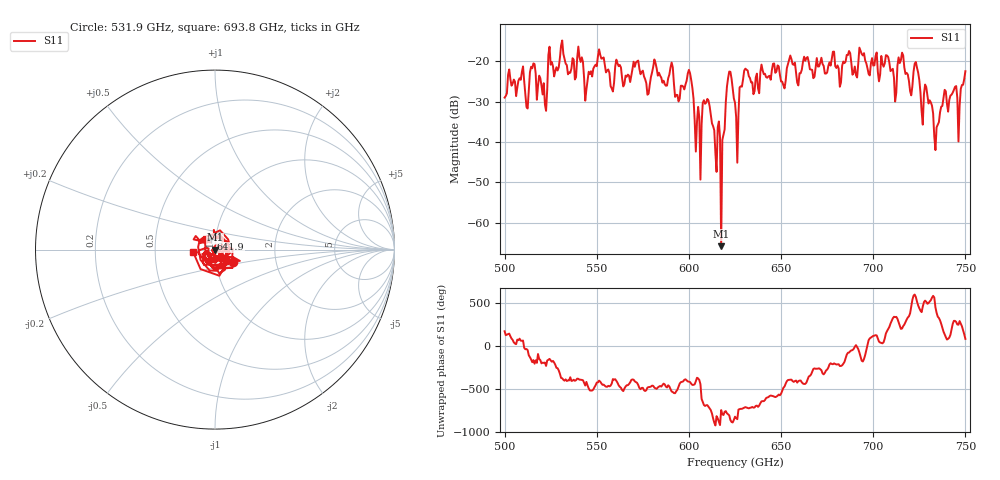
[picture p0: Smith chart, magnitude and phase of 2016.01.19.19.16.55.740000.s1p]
!Created with skrf (http://scikit-rf.org).
# GHz S RI R 50.0
!freq ReS11 ImS11
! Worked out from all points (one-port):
!   401 points, 500 GHz to 750 GHz, reference 50 ohm
!   lowest |S11| = -65.8 dB at 617.5 GHz (marker M1), VSWR 1.00, Z = 50 - j0.0231 ohm
!   |S11| at or under -10 dB: start of sweep to end of sweep
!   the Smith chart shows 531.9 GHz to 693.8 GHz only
!   S11 on the Smith chart (normalised r, x): 531.9 GHz: 1.21, -0.18; 641.9 GHz: 0.95, +0.11; 693.8 GHz: 0.78, -0.02
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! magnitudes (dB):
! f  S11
! 500 GHz  -29.0
! 511.9 GHz  -31.3
! 515 GHz  -21.7
! 521.9 GHz  -30.7
! 525 GHz  -20.8
! 531.2 GHz  -14.8
! 531.9 GHz  -18.2
! 544.4 GHz  -27.0
! 551.9 GHz  -18.4
! 558.1 GHz  -26.7
! 562.5 GHz  -20.9
! 590 GHz  -21.6
! 593.8 GHz  -28.3
! 600.6 GHz  -23.0
! 605 GHz  -31.3
! 609.4 GHz  -30.2
! 617.5 GHz  -65.8
! 621.9 GHz  -22.5
! 625 GHz  -30.3
! 630.6 GHz  -21.8
! 641.9 GHz  -23.9
! 656.2 GHz  -20.7
! 687.5 GHz  -18.0
! 693.8 GHz  -18.2
! 718.8 GHz  -23.3
! 723.8 GHz  -21.6
! 734.4 GHz  -36.3
! 750 GHz  -22.4
